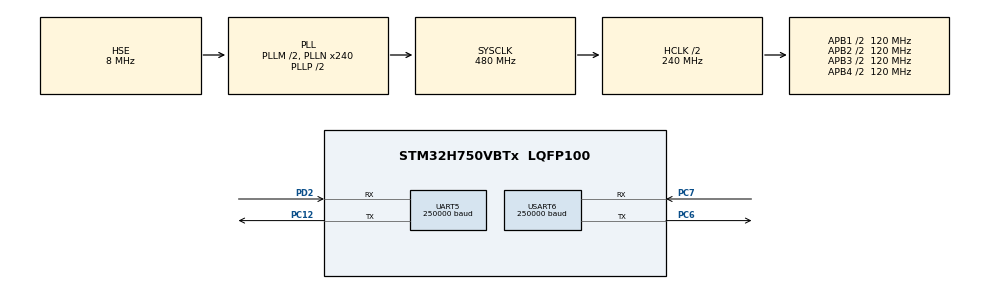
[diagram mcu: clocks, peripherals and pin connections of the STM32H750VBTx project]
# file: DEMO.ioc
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CORTEX_M7.BaseAddress-Cortex_Memory_Protection_Unit_Region0_Settings=0x24000000
CORTEX_M7.CPU_DCache=Enabled
CORTEX_M7.CPU_ICache=Enabled
CORTEX_M7.Enable-Cortex_Memory_Protection_Unit_Region0_Settings=MPU_REGION_ENABLE
CORTEX_M7.MPU_Control=MPU_HFNMI_PRIVDEF_NONE
CORTEX_M7.Size-Cortex_Memory_Protection_Unit_Region0_Settings=MPU_REGION_SIZE_128KB
Dma.Request0=UART5_TX
Dma.Request1=USART6_TX
Dma.UART5_TX.0.Direction=DMA_MEMORY_TO_PERIPH
Dma.UART5_TX.0.EventEnable=DISABLE
Dma.UART5_TX.0.FIFOMode=DMA_FIFOMODE_DISABLE
Dma.UART5_TX.0.Instance=DMA1_Stream1
Dma.UART5_TX.0.MemDataAlignment=DMA_MDATAALIGN_HALFWORD
Dma.UART5_TX.0.MemInc=DMA_MINC_ENABLE
Dma.UART5_TX.0.Mode=DMA_NORMAL
Dma.UART5_TX.0.PeriphDataAlignment=DMA_PDATAALIGN_HALFWORD
Dma.UART5_TX.0.PeriphInc=DMA_PINC_DISABLE
Dma.UART5_TX.0.Polarity=HAL_DMAMUX_REQ_GEN_RISING
Dma.UART5_TX.0.Priority=DMA_PRIORITY_LOW
Dma.UART5_TX.0.RequestNumber=1
Dma.UART5_TX.0.SignalID=NONE
Dma.UART5_TX.0.SyncEnable=DISABLE
Dma.UART5_TX.0.SyncPolarity=HAL_DMAMUX_SYNC_NO_EVENT
Dma.UART5_TX.0.SyncRequestNumber=1
Dma.UART5_TX.0.SyncSignalID=NONE
Dma.USART6_TX.1.Direction=DMA_MEMORY_TO_PERIPH
Dma.USART6_TX.1.EventEnable=DISABLE
Dma.USART6_TX.1.FIFOMode=DMA_FIFOMODE_DISABLE
Dma.USART6_TX.1.Instance=DMA1_Stream0
Dma.USART6_TX.1.MemDataAlignment=DMA_MDATAALIGN_HALFWORD
Dma.USART6_TX.1.MemInc=DMA_MINC_ENABLE
Dma.USART6_TX.1.Mode=DMA_NORMAL
Dma.USART6_TX.1.PeriphDataAlignment=DMA_PDATAALIGN_HALFWORD
Dma.USART6_TX.1.PeriphInc=DMA_PINC_DISABLE
Dma.USART6_TX.1.Polarity=HAL_DMAMUX_REQ_GEN_RISING
Dma.USART6_TX.1.Priority=DMA_PRIORITY_LOW
Dma.USART6_TX.1.RequestNumber=1
Dma.USART6_TX.1.SignalID=NONE
Dma.USART6_TX.1.SyncEnable=DISABLE
Dma.USART6_TX.1.SyncPolarity=HAL_DMAMUX_SYNC_NO_EVENT
Dma.USART6_TX.1.SyncRequestNumber=1
Dma.USART6_TX.1.SyncSignalID=NONE
Mcu.Family=STM32H7
Mcu.Name=STM32H750VBTx
Mcu.Package=LQFP100
NVIC.DMA1_Stream0_IRQn=true\:0\:0\:false\:false\:true\:false\:true
NVIC.DMA1_Stream1_IRQn=true\:0\:0\:false\:false\:true\:false\:true
NVIC.PriorityGroup=NVIC_PRIORITYGROUP_4
NVIC.UART5_IRQn=true\:0\:0\:false\:false\:true\:true\:true
NVIC.USART6_IRQn=true\:0\:0\:false\:false\:true\:true\:true
PA13\ (JTMS/SWDIO).Mode=Serial_Wire
PA13\ (JTMS/SWDIO).Signal=DEBUG_JTMS-SWDIO
PA14\ (JTCK/SWCLK).Mode=Serial_Wire
PA14\ (JTCK/SWCLK).Signal=DEBUG_JTCK-SWCLK
PC12.Mode=Asynchronous
PC12.Signal=UART5_TX
PC6.Mode=Asynchronous
PC6.Signal=USART6_TX
PC7.Mode=Asynchronous
PC7.Signal=USART6_RX
PD2.Mode=Asynchronous
PD2.Signal=UART5_RX
PH0-OSC_IN\ (PH0).Mode=HSE-External-Oscillator
PH0-OSC_IN\ (PH0).Signal=RCC_OSC_IN
PH1-OSC_OUT\ (PH1).Mode=HSE-External-Oscillator
PH1-OSC_OUT\ (PH1).Signal=RCC_OSC_OUT
ProjectManager.HeapSize=0x200
ProjectManager.StackSize=0x400
ProjectManager.TargetToolchain=MDK-ARM V5
RCC.ADCFreq_Value=16125000
RCC.APB1Freq_Value=120000000
RCC.APB2Freq_Value=120000000
RCC.APB3Freq_Value=120000000
RCC.APB4Freq_Value=120000000
RCC.CortexFreq_Value=480000000
RCC.D1PPRE=RCC_APB3_DIV2
RCC.D2PPRE1=RCC_APB1_DIV2
RCC.D2PPRE2=RCC_APB2_DIV2
RCC.D3PPRE=RCC_APB4_DIV2
RCC.DIVM1=2
RCC.DIVN1=240
RCC.HCLKFreq_Value=240000000
RCC.HPRE=RCC_HCLK_DIV2
RCC.HSE_VALUE=8000000
RCC.PLLSourceVirtual=RCC_PLLSOURCE_HSE
RCC.SYSCLKFreq_VALUE=480000000
RCC.SYSCLKSource=RCC_SYSCLKSOURCE_PLLCLK
RCC.USBFreq_Value=480000000
UART5.BaudRate=250000
UART5.FIFOMode=FIFOMODE_ENABLE
UART5.TXFIFOThreshold=TXFIFO_THRESHOLD_HALFFULL
UART5.WordLength=WORDLENGTH_9B
USART6.BaudRate=250000
USART6.FIFOMode=FIFOMODE_ENABLE
USART6.TXFIFOThreshold=TXFIFO_THRESHOLD_HALFFULL
USART6.VirtualMode=VM_ASYNC
USART6.WordLength=WORDLENGTH_9B
board=custom

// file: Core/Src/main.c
/* USER CODE BEGIN Header */
/**
  ******************************************************************************
  * @file           : main.c
  * @brief          : Main program body
  ******************************************************************************
  * @attention
  *
  * <h2><center>&copy; Copyright (c) 2021 STMicroelectronics.
  * All rights reserved.</center></h2>
  *
  * This software component is licensed by ST under BSD 3-Clause license,
  * the "License"; You may not use this file except in compliance with the
  * License. You may obtain a copy of the License at:
  *                        opensource.org/licenses/BSD-3-Clause
  *
  ******************************************************************************
  */
/* USER CODE END Header */
#include "main.h"

/* USER CODE BEGIN PTD */

///changgggggggggggggggggggg
/* USER CODE END PTD */

UART_HandleTypeDef huart5;
UART_HandleTypeDef huart6;
DMA_HandleTypeDef hdma_uart5_tx;
DMA_HandleTypeDef hdma_usart6_tx;

void SystemClock_Config(void);
static void MPU_Config(void);
static void MX_GPIO_Init(void);
static void MX_DMA_Init(void);
static void MX_UART5_Init(void);
static void MX_USART6_UART_Init(void);

/* USER CODE BEGIN 0 */
typedef struct
{
	uint16_t data[512];

	uint8_t		head;
	uint16_t	index;
	uint16_t  len;

	uint16_t dempdata[514];
	uint16_t it;

}dmx_def;

//dmx_def dmxdemo;
__attribute__((section ("RAM_D1"))) uint16_t senddata[514];

__attribute__((section ("RAM_D1"))) dmx_def dmxdemo;;

void usartirq(UART_HandleTypeDef *huart)
{
	uint16_t data=0;

   uint32_t isrflags   = READ_REG(huart->Instance->ISR);
   uint32_t cr1its     = READ_REG(huart->Instance->CR1);
   uint32_t cr3its     = READ_REG(huart->Instance->CR3);

    /* UART Over-Run interrupt occurred -----------------------------------------*/
    if (((isrflags & USART_ISR_ORE) != 0U)&& (((cr1its & USART_CR1_RXNEIE_RXFNEIE) != 0U) ||((cr3its & (USART_CR3_RXFTIE | USART_CR3_EIE)) != 0U)))
    {
      __HAL_UART_CLEAR_FLAG(huart, UART_CLEAR_OREF);
			data=huart->Instance->RDR;

    }
		if (((isrflags & USART_ISR_RXNE_RXFNE) != 0U)&& (((cr1its & USART_CR1_RXNEIE_RXFNEIE) != 0U) || ((cr3its & USART_CR3_RXFTIE) != 0U)))
    {
			data=READ_REG(huart->Instance->RDR);

			if(dmxdemo.it>=514)
				dmxdemo.it=0;

			dmxdemo.dempdata[dmxdemo.it]=data;
			dmxdemo.it++;

			if(data==0)
			{

				dmxdemo.head=1;
				dmxdemo.len=dmxdemo.index;
				return;
			}
			if(dmxdemo.head==1)
			{
				if(data==0x100)
				{
					dmxdemo.index=0;
					dmxdemo.head=2;
				}else
				{
					dmxdemo.head=0;
				}
				senddata[2]=((senddata[2]+1)&0x1ff)|0x100;

			//	SCB_CleanDCache_by_Addr((uint32_t *)&senddata[2], 2);
				return;
			}
			if(dmxdemo.head==2)
			{
					if(dmxdemo.index<512)
					{
						dmxdemo.data[dmxdemo.index]=data;
					}
					dmxdemo.index++;
			}
      return;
    }

  /* UART in mode Transmitter end --------------------------------------------*/
	if(((isrflags & USART_ISR_TXE_TXFNF) != RESET) && ((cr1its & USART_CR1_TXEIE) != RESET))
	{
			__HAL_UART_DISABLE_IT(huart,UART_IT_TXE);
	}
  else if(((isrflags & USART_ISR_TC) != RESET) && ((cr1its & USART_CR1_TCIE) != RESET))
  {
				__HAL_UART_DISABLE_IT(huart,UART_IT_TC);
				__HAL_UART_CLEAR_FLAG(huart, UART_FLAG_TC);
  }

}
/* USER CODE END 0 */

int main(void)
{

  /* MPU Configuration--------------------------------------------------------*/
  MPU_Config();

  /* Enable I-Cache---------------------------------------------------------*/
  SCB_EnableICache();

  /* Enable D-Cache---------------------------------------------------------*/
  SCB_EnableDCache();

  /* MCU Configuration--------------------------------------------------------*/

  /* Reset of all peripherals, Initializes the Flash interface and the Systick. */
  HAL_Init();

  /* Configure the system clock */
  SystemClock_Config();

  /* Initialize all configured peripherals */
  MX_GPIO_Init();
  MX_DMA_Init();
  MX_UART5_Init();
  MX_USART6_UART_Init();
  /* USER CODE BEGIN 2 */
  for(uint16_t i=0;i<514;i++)
	{
		senddata[i]=0x100|(uint8_t)i;
	}
	senddata[0]=0;
	senddata[1]=0x100;

//	__HAL_UART_DISABLE_IT(&huart5,UART_IT_ERR);
//	__HAL_UART_ENABLE_IT(&huart5,UART_IT_RXNE);

	__HAL_UART_DISABLE_IT(&huart6,UART_IT_ERR);
	__HAL_UART_ENABLE_IT(&huart6,UART_IT_RXNE);

  /* USER CODE END 2 */

  /* Infinite loop */
  /* USER CODE BEGIN WHILE */

		//SCB_CleanInvalidateDCache();
		//SCB_InvalidateDCache_by_Addr ((uint32_t *)senddata, sizeof(senddata));

  while (1)
  {
		//SCB_InvalidateDCache_by_Addr ((uint32_t *)senddata, sizeof(senddata));

		//SCB_InvalidateDCache_by_Addr ((uint32_t *)senddata, 514*2);

		//SCB_CleanDCache_by_Addr((uint32_t *)senddata, 514*2);
		HAL_UART_Transmit_DMA(&huart5,(uint8_t*)senddata,514);

		//SCB_CleanDCache_by_Addr((uint32_t *)&dmxdemo, sizeof(dmxdemo));
		//SCB_InvalidateDCache_by_Addr ((uint32_t *)&dmxdemo, sizeof(dmxdemo));//����һ������

    /* USER CODE END WHILE */

  }
}

void SystemClock_Config(void)
{
  RCC_OscInitTypeDef RCC_OscInitStruct = {0};
  RCC_ClkInitTypeDef RCC_ClkInitStruct = {0};

  /** Supply configuration update enable
  */
  HAL_PWREx_ConfigSupply(PWR_LDO_SUPPLY);
  /** Configure the main internal regulator output voltage
  */
  __HAL_PWR_VOLTAGESCALING_CONFIG(PWR_REGULATOR_VOLTAGE_SCALE0);

  while(!__HAL_PWR_GET_FLAG(PWR_FLAG_VOSRDY)) {}
  /** Initializes the RCC Oscillators according to the specified parameters
  * in the RCC_OscInitTypeDef structure.
  */
  RCC_OscInitStruct.OscillatorType = RCC_OSCILLATORTYPE_HSE;
  RCC_OscInitStruct.HSEState = RCC_HSE_ON;
  RCC_OscInitStruct.PLL.PLLState = RCC_PLL_ON;
  RCC_OscInitStruct.PLL.PLLSource = RCC_PLLSOURCE_HSE;
  RCC_OscInitStruct.PLL.PLLM = 2;
  RCC_OscInitStruct.PLL.PLLN = 240;
  RCC_OscInitStruct.PLL.PLLP = 2;
  RCC_OscInitStruct.PLL.PLLQ = 2;
  RCC_OscInitStruct.PLL.PLLR = 2;
  RCC_OscInitStruct.PLL.PLLRGE = RCC_PLL1VCIRANGE_2;
  RCC_OscInitStruct.PLL.PLLVCOSEL = RCC_PLL1VCOWIDE;
  RCC_OscInitStruct.PLL.PLLFRACN = 0;
  if (HAL_RCC_OscConfig(&RCC_OscInitStruct) != HAL_OK)
  {
    Error_Handler();
  }
  /** Initializes the CPU, AHB and APB buses clocks
  */
  RCC_ClkInitStruct.ClockType = RCC_CLOCKTYPE_HCLK|RCC_CLOCKTYPE_SYSCLK
                              |RCC_CLOCKTYPE_PCLK1|RCC_CLOCKTYPE_PCLK2
                              |RCC_CLOCKTYPE_D3PCLK1|RCC_CLOCKTYPE_D1PCLK1;
  RCC_ClkInitStruct.SYSCLKSource = RCC_SYSCLKSOURCE_PLLCLK;
  RCC_ClkInitStruct.SYSCLKDivider = RCC_SYSCLK_DIV1;
  RCC_ClkInitStruct.AHBCLKDivider = RCC_HCLK_DIV2;
  RCC_ClkInitStruct.APB3CLKDivider = RCC_APB3_DIV2;
  RCC_ClkInitStruct.APB1CLKDivider = RCC_APB1_DIV2;
  RCC_ClkInitStruct.APB2CLKDivider = RCC_APB2_DIV2;
  RCC_ClkInitStruct.APB4CLKDivider = RCC_APB4_DIV2;

  if (HAL_RCC_ClockConfig(&RCC_ClkInitStruct, FLASH_LATENCY_4) != HAL_OK)
  {
    Error_Handler();
  }
}

static void MX_UART5_Init(void)
{

  huart5.Instance = UART5;
  huart5.Init.BaudRate = 250000;
  huart5.Init.WordLength = UART_WORDLENGTH_9B;
  huart5.Init.StopBits = UART_STOPBITS_1;
  huart5.Init.Parity = UART_PARITY_NONE;
  huart5.Init.Mode = UART_MODE_TX_RX;
  huart5.Init.HwFlowCtl = UART_HWCONTROL_NONE;
  huart5.Init.OverSampling = UART_OVERSAMPLING_16;
  huart5.Init.OneBitSampling = UART_ONE_BIT_SAMPLE_DISABLE;
  huart5.Init.ClockPrescaler = UART_PRESCALER_DIV1;
  huart5.AdvancedInit.AdvFeatureInit = UART_ADVFEATURE_NO_INIT;
  if (HAL_UART_Init(&huart5) != HAL_OK)
  {
    Error_Handler();
  }
  if (HAL_UARTEx_SetTxFifoThreshold(&huart5, UART_TXFIFO_THRESHOLD_1_2) != HAL_OK)
  {
    Error_Handler();
  }
  if (HAL_UARTEx_SetRxFifoThreshold(&huart5, UART_RXFIFO_THRESHOLD_1_8) != HAL_OK)
  {
    Error_Handler();
  }
  if (HAL_UARTEx_EnableFifoMode(&huart5) != HAL_OK)
  {
    Error_Handler();
  }

}

static void MX_USART6_UART_Init(void)
{

  huart6.Instance = USART6;
  huart6.Init.BaudRate = 250000;
  huart6.Init.WordLength = UART_WORDLENGTH_9B;
  huart6.Init.StopBits = UART_STOPBITS_1;
  huart6.Init.Parity = UART_PARITY_NONE;
  huart6.Init.Mode = UART_MODE_TX_RX;
  huart6.Init.HwFlowCtl = UART_HWCONTROL_NONE;
  huart6.Init.OverSampling = UART_OVERSAMPLING_16;
  huart6.Init.OneBitSampling = UART_ONE_BIT_SAMPLE_DISABLE;
  huart6.Init.ClockPrescaler = UART_PRESCALER_DIV1;
  huart6.AdvancedInit.AdvFeatureInit = UART_ADVFEATURE_NO_INIT;
  if (HAL_UART_Init(&huart6) != HAL_OK)
  {
    Error_Handler();
  }
  if (HAL_UARTEx_SetTxFifoThreshold(&huart6, UART_TXFIFO_THRESHOLD_1_2) != HAL_OK)
  {
    Error_Handler();
  }
  if (HAL_UARTEx_SetRxFifoThreshold(&huart6, UART_RXFIFO_THRESHOLD_1_8) != HAL_OK)
  {
    Error_Handler();
  }
  if (HAL_UARTEx_EnableFifoMode(&huart6) != HAL_OK)
  {
    Error_Handler();
  }

}

static void MX_DMA_Init(void)
{

  /* DMA controller clock enable */
  __HAL_RCC_DMA1_CLK_ENABLE();

  /* DMA interrupt init */
  /* DMA1_Stream0_IRQn interrupt configuration */
  HAL_NVIC_SetPriority(DMA1_Stream0_IRQn, 0, 0);
  HAL_NVIC_EnableIRQ(DMA1_Stream0_IRQn);
  /* DMA1_Stream1_IRQn interrupt configuration */
  HAL_NVIC_SetPriority(DMA1_Stream1_IRQn, 0, 0);
  HAL_NVIC_EnableIRQ(DMA1_Stream1_IRQn);

}

static void MX_GPIO_Init(void)
{

  /* GPIO Ports Clock Enable */
  __HAL_RCC_GPIOH_CLK_ENABLE();
  __HAL_RCC_GPIOC_CLK_ENABLE();
  __HAL_RCC_GPIOA_CLK_ENABLE();
  __HAL_RCC_GPIOD_CLK_ENABLE();

}

/* MPU Configuration */

void MPU_Config(void)
{
  MPU_Region_InitTypeDef MPU_InitStruct = {0};

  /* Disables the MPU */
  HAL_MPU_Disable();
  /** Initializes and configures the Region and the memory to be protected
  */
  MPU_InitStruct.Enable = MPU_REGION_ENABLE;
	MPU_InitStruct.BaseAddress = 0x24000000;
	MPU_InitStruct.Size = MPU_REGION_SIZE_512KB;
	MPU_InitStruct.AccessPermission = MPU_REGION_FULL_ACCESS;
	MPU_InitStruct.IsBufferable = MPU_ACCESS_BUFFERABLE;
	MPU_InitStruct.IsCacheable = MPU_ACCESS_NOT_CACHEABLE;
	MPU_InitStruct.IsShareable = MPU_ACCESS_NOT_SHAREABLE;
	MPU_InitStruct.Number = MPU_REGION_NUMBER0;
	MPU_InitStruct.TypeExtField = MPU_TEX_LEVEL1;
	MPU_InitStruct.SubRegionDisable = 0x00;
	MPU_InitStruct.DisableExec = MPU_INSTRUCTION_ACCESS_ENABLE;

  HAL_MPU_ConfigRegion(&MPU_InitStruct);
  /* Enables the MPU */
  HAL_MPU_Enable(MPU_PRIVILEGED_DEFAULT);

}

void Error_Handler(void)
{
  __disable_irq();
  while (1)
  {
  }
}

/************************ (C) COPYRIGHT STMicroelectronics *****END OF FILE****/
